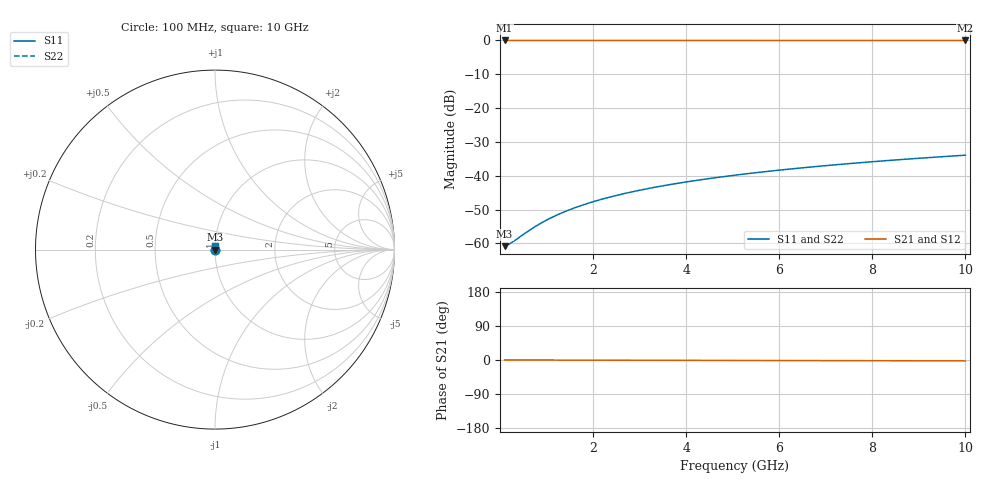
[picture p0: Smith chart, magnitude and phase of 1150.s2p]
# Hz S RI R 50.00
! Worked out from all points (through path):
!   100 points, 100 MHz to 10 GHz, reference 50 ohm
!   highest |S21| = -0.01 dB at 100 MHz (marker M1); lowest = 0.0 dB at 10 GHz (marker M2)
!   lowest |S11| = -60.8 dB at 100 MHz (marker M3), VSWR 1.00, Z = 50.1 + j0.0201 ohm
!   |S11| at or under -10 dB: start of sweep to end of sweep
!   |S22| runs from -60.8 to -33.9 dB; largest |S21 - S12| = 0
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1e8  0.000886 0.0002  0.9991 -0.000412  0.9991 -0.000412  0.000886 0.0002
2e8  0.000892 0.000401  0.9991 -0.000824  0.9991 -0.000824  0.000892 0.000401
3e8  0.000896 0.000601  0.9991 -0.00124  0.9991 -0.00124  0.000896 0.000601
7e8  0.000911 0.0014  0.9991 -0.00288  0.9991 -0.00288  0.000911 0.0014
8e8  0.000914 0.0016  0.9991 -0.0033  0.9991 -0.0033  0.000914 0.0016
1e9  0.000921 0.002  0.9991 -0.00412  0.9991 -0.00412  0.000921 0.002
1.2e9  0.000928 0.0024  0.9991 -0.00494  0.9991 -0.00494  0.000928 0.0024
1.4e9  0.000935 0.0028  0.9991 -0.00577  0.9991 -0.00577  0.000935 0.0028
1.6e9  0.000943 0.0032  0.999 -0.00659  0.999 -0.00659  0.000943 0.0032
1.8e9  0.000951 0.0036  0.999 -0.00741  0.999 -0.00741  0.000951 0.0036
2.1e9  0.000964 0.0042  0.999 -0.00865  0.999 -0.00865  0.000964 0.0042
2.5e9  0.000983 0.00501  0.999 -0.0103  0.999 -0.0103  0.000983 0.00501
2.9e9  0.001 0.00581  0.999 -0.0119  0.999 -0.0119  0.001 0.00581
3.4e9  0.00104 0.00681  0.9989 -0.014  0.9989 -0.014  0.00104 0.00681
3.8e9  0.00106 0.00761  0.9989 -0.0157  0.9989 -0.0157  0.00106 0.00761
4.2e9  0.00109 0.00841  0.9989 -0.0173  0.9989 -0.0173  0.00109 0.00841
5.1e9  0.00117 0.0102  0.9988 -0.021  0.9988 -0.021  0.00117 0.0102
5.9e9  0.00125 0.0118  0.9987 -0.0243  0.9987 -0.0243  0.00125 0.0118
6.7e9  0.00134 0.0134  0.9985 -0.0276  0.9985 -0.0276  0.00134 0.0134
7.5e9  0.00144 0.015  0.9984 -0.0309  0.9984 -0.0309  0.00144 0.015
8.4e9  0.00156 0.0168  0.9983 -0.0346  0.9983 -0.0346  0.00156 0.0168
1e10  0.00182 0.02  0.9979 -0.0412  0.9979 -0.0412  0.00182 0.02
